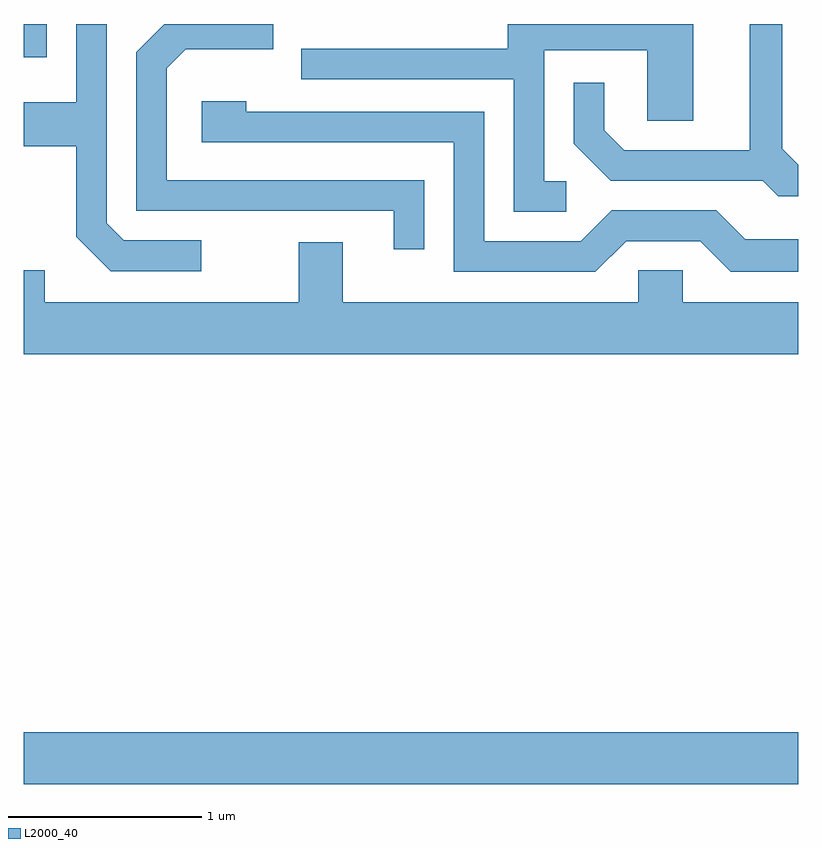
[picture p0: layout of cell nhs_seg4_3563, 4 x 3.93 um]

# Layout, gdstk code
import gdstk
lib = gdstk.Library(unit=1e-6, precision=1e-09)
def R(c, l, rs):  # rectangles x0, y0, x1, y1
    for r in rs: c.add(gdstk.rectangle(r[:2], r[2:], *l))
def P(c, l, *ps):  # polygons
    for p in ps: c.add(gdstk.Polygon(p, *l))
L2000_40 = (2000, 40)

nhs_seg4_3563 = lib.new_cell('nhs_seg4_3563')
R(nhs_seg4_3563, L2000_40, [(289.611,1308.056,293.611,1308.324), (289.611,1311.811,289.729,1311.982)])
P(nhs_seg4_3563, L2000_40, [(293.611,1311.255),(293.529,1311.337),(293.529,1311.982),(293.361,1311.982),(293.361,1311.329),(292.712,1311.329),(292.609,1311.432),(292.609,1311.678),(292.451,1311.678),(292.451,1311.364),(292.644,1311.171),(293.429,1311.171),(293.509,1311.091),(293.611,1311.091)],
  [(292.413,1311.169),(292.299,1311.169),(292.299,1311.846),(292.831,1311.846),(292.831,1311.481),(293.069,1311.481),(293.069,1311.982),(292.111,1311.982),(292.111,1311.854),(291.043,1311.854),(291.043,1311.696),(292.141,1311.696),(292.141,1311.011),(292.413,1311.011)],
  [(290.528,1310.864),(290.127,1310.864),(290.039,1310.952),(290.039,1311.982),(289.881,1311.982),(289.881,1311.579),(289.611,1311.579),(289.611,1311.351),(289.881,1311.351),(289.881,1310.884),(290.059,1310.706),(290.528,1310.706)],
  [(291.679,1311.174),(290.349,1311.174),(290.349,1311.754),(290.447,1311.851),(290.899,1311.851),(290.899,1311.982),(290.337,1311.982),(290.191,1311.837),(290.191,1311.016),(291.521,1311.016),(291.521,1310.818),(291.679,1310.818)],
  [(292.722,1310.861),(293.104,1310.861),(293.264,1310.701),(293.611,1310.701),(293.611,1310.869),(293.337,1310.869),(293.187,1311.019),(292.649,1311.019),(292.489,1310.859),(291.989,1310.859),(291.989,1311.529),(290.759,1311.529),(290.759,1311.584),(290.531,1311.584),(290.531,1311.371),(291.831,1311.371),(291.831,1310.701),(292.562,1310.701)],
  [(293.611,1310.544),(293.014,1310.544),(293.014,1310.709),(292.786,1310.709),(292.786,1310.544),(291.259,1310.544),(291.259,1310.854),(291.031,1310.854),(291.031,1310.544),(289.719,1310.544),(289.719,1310.709),(289.611,1310.709),(289.611,1310.276),(293.611,1310.276)])

lib.write_gds('nhs_seg4_3563.gds')
